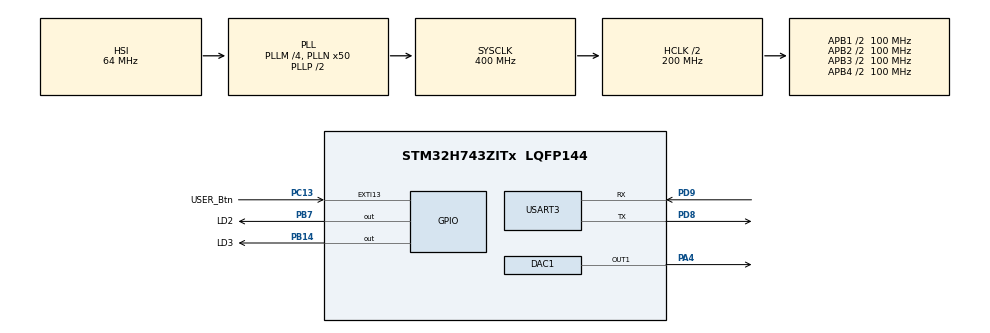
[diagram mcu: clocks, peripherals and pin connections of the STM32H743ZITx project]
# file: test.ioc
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ADC2.Channel-9\#ChannelRegularConversion=ADC_CHANNEL_DAC1CH1_ADC2
ADC2.ClockPrescaler=ADC_CLOCK_ASYNC_DIV2
ADC2.ContinuousConvMode=DISABLE
ADC2.ConversionDataManagement=ADC_CONVERSIONDATA_DMA_ONESHOT
ADC2.DiscontinuousConvMode=DISABLE
ADC2.EOCSelection=ADC_EOC_SINGLE_CONV
ADC2.EnableRegularConversion=ENABLE
ADC2.ExternalTrigConv=ADC_EXTERNALTRIG_T3_TRGO
ADC2.NbrOfConversionFlag=1
ADC2.OffsetNumber-9\#ChannelRegularConversion=ADC_OFFSET_NONE
ADC2.Overrun=ADC_OVR_DATA_OVERWRITTEN
ADC2.Rank-9\#ChannelRegularConversion=1
ADC2.Resolution=ADC_RESOLUTION_12B
ADC2.SamplingTime-9\#ChannelRegularConversion=ADC_SAMPLETIME_64CYCLES_5
CORTEX_M7.CPU_DCache=Disabled
CORTEX_M7.CPU_ICache=Disabled
DAC1.DAC_Trigger-DAC_OUT1_ExtAndInt=DAC_TRIGGER_T6_TRGO
Dma.ADC2.1.Direction=DMA_PERIPH_TO_MEMORY
Dma.ADC2.1.EventEnable=DISABLE
Dma.ADC2.1.FIFOMode=DMA_FIFOMODE_DISABLE
Dma.ADC2.1.Instance=DMA1_Stream2
Dma.ADC2.1.MemDataAlignment=DMA_MDATAALIGN_HALFWORD
Dma.ADC2.1.MemInc=DMA_MINC_ENABLE
Dma.ADC2.1.Mode=DMA_NORMAL
Dma.ADC2.1.PeriphDataAlignment=DMA_PDATAALIGN_HALFWORD
Dma.ADC2.1.PeriphInc=DMA_PINC_DISABLE
Dma.ADC2.1.Polarity=HAL_DMAMUX_REQ_GEN_RISING
Dma.ADC2.1.Priority=DMA_PRIORITY_LOW
Dma.ADC2.1.RequestNumber=1
Dma.ADC2.1.SignalID=NONE
Dma.ADC2.1.SyncEnable=DISABLE
Dma.ADC2.1.SyncPolarity=HAL_DMAMUX_SYNC_NO_EVENT
Dma.ADC2.1.SyncRequestNumber=1
Dma.ADC2.1.SyncSignalID=NONE
Dma.DAC1_CH1.0.Direction=DMA_MEMORY_TO_PERIPH
Dma.DAC1_CH1.0.EventEnable=DISABLE
Dma.DAC1_CH1.0.FIFOMode=DMA_FIFOMODE_DISABLE
Dma.DAC1_CH1.0.Instance=DMA1_Stream1
Dma.DAC1_CH1.0.MemDataAlignment=DMA_MDATAALIGN_HALFWORD
Dma.DAC1_CH1.0.MemInc=DMA_MINC_ENABLE
Dma.DAC1_CH1.0.Mode=DMA_NORMAL
Dma.DAC1_CH1.0.PeriphDataAlignment=DMA_PDATAALIGN_HALFWORD
Dma.DAC1_CH1.0.PeriphInc=DMA_PINC_DISABLE
Dma.DAC1_CH1.0.Polarity=HAL_DMAMUX_REQ_GEN_RISING
Dma.DAC1_CH1.0.Priority=DMA_PRIORITY_MEDIUM
Dma.DAC1_CH1.0.RequestNumber=1
Dma.DAC1_CH1.0.SignalID=NONE
Dma.DAC1_CH1.0.SyncEnable=DISABLE
Dma.DAC1_CH1.0.SyncPolarity=HAL_DMAMUX_SYNC_NO_EVENT
Dma.DAC1_CH1.0.SyncRequestNumber=1
Dma.DAC1_CH1.0.SyncSignalID=NONE
Dma.Request0=DAC1_CH1
Dma.Request1=ADC2
Mcu.Family=STM32H7
Mcu.Name=STM32H743ZITx
Mcu.Package=LQFP144
NVIC.ADC_IRQn=true\:0\:0\:false\:false\:true\:true\:true
NVIC.DMA1_Stream1_IRQn=true\:2\:0\:true\:false\:true\:false\:true
NVIC.DMA1_Stream2_IRQn=true\:0\:0\:true\:false\:true\:false\:true
NVIC.EXTI15_10_IRQn=true\:2\:0\:true\:false\:true\:true\:true
NVIC.PriorityGroup=NVIC_PRIORITYGROUP_4
PA4.Signal=COMP_DAC11_group
PB14.GPIO_Label=LD3
PB14.GPIO_ModeDefaultOutputPP=GPIO_MODE_OUTPUT_PP
PB14.GPIO_PuPd=GPIO_NOPULL
PB14.GPIO_Speed=GPIO_SPEED_FREQ_LOW
PB14.PinState=GPIO_PIN_RESET
PB14.Signal=GPIO_Output
PB7.GPIO_FM7=__NULL
PB7.GPIO_Label=LD2
PB7.GPIO_ModeDefaultOutputPP=GPIO_MODE_OUTPUT_PP
PB7.GPIO_PuPd=GPIO_NOPULL
PB7.GPIO_Speed=GPIO_SPEED_FREQ_LOW
PB7.PinState=GPIO_PIN_RESET
PB7.Signal=GPIO_Output
PC13.GPIO_Label=USER_Btn
PC13.GPIO_ModeDefaultEXTI=GPIO_MODE_IT_RISING
PC13.GPIO_PuPd=GPIO_NOPULL
PC13.Signal=GPXTI13
PD8.Mode=Asynchronous
PD8.Signal=USART3_TX
PD9.Mode=Asynchronous
PD9.Signal=USART3_RX
PH0-OSC_IN\ (PH0).Mode=HSE-External-Clock-Source
PH0-OSC_IN\ (PH0).Signal=RCC_OSC_IN
PH1-OSC_OUT\ (PH1).Mode=HSE-External-Clock-Source
PH1-OSC_OUT\ (PH1).Signal=RCC_OSC_OUT
ProjectManager.HeapSize=0x200
ProjectManager.StackSize=0x400
ProjectManager.TargetToolchain=MDK-ARM V5
RCC.48MHZClocksFreq_Value=24000000
RCC.ADCCLockSelection=RCC_ADCCLKSOURCE_CLKP
RCC.ADCFreq_Value=64000000
RCC.AHBFreq_Value=216000000
RCC.APB1CLKDivider=RCC_HCLK_DIV4
RCC.APB1Freq_Value=100000000
RCC.APB1TimFreq_Value=108000000
RCC.APB2CLKDivider=RCC_HCLK_DIV2
RCC.APB2Freq_Value=100000000
RCC.APB2TimFreq_Value=216000000
RCC.APB3Freq_Value=100000000
RCC.APB4Freq_Value=100000000
RCC.CortexFreq_Value=400000000
RCC.D1PPRE=RCC_APB3_DIV2
RCC.D2PPRE1=RCC_APB1_DIV2
RCC.D2PPRE2=RCC_APB2_DIV2
RCC.D3PPRE=RCC_APB4_DIV2
RCC.DIVM1=4
RCC.DIVM2=4
RCC.DIVM3=1
RCC.DIVN1=50
RCC.DIVN2=12
RCC.DIVN3=19
RCC.DIVP2=16
RCC.DIVQ1=4
RCC.HCLKFreq_Value=200000000
RCC.HPRE=RCC_HCLK_DIV2
RCC.HSE_VALUE=8000000
RCC.HSI_VALUE=64000000
RCC.PLLM=25
RCC.PLLMUL=RCC_PLL_MUL9
RCC.PLLN=432
RCC.PLLQ=9
RCC.PRESCALERUSB=RCC_USBCLKSOURCE_PLL_DIV1_5
RCC.PWR_Regulator_Voltage_Scale=PWR_REGULATOR_VOLTAGE_SCALE1
RCC.SYSCLKFreq_VALUE=400000000
RCC.SYSCLKSource=RCC_SYSCLKSOURCE_PLLCLK
RCC.SYSCLKSourceVirtual=RCC_SYSCLKSOURCE_PLLCLK
RCC.USBFreq_Value=200000000
RCC.VCOOutputFreq_Value=432000000
SH.COMP_DAC11_group.0=DAC1_OUT1,DAC_OUT1_ExtAndInt
TIM3.Period=100
TIM3.Prescaler=500
TIM3.TIM_MasterOutputTrigger=TIM_TRGO_UPDATE
TIM6.Period=9
TIM6.Prescaler=400
TIM6.TIM_MasterOutputTrigger=TIM_TRGO_UPDATE
USART3.VirtualMode-Asynchronous=VM_ASYNC
VP_ADC2_VS_DAC1_OUT1_L4.Mode=IN-DAC1-OUT1
VP_TIM3_VS_ClockSourceINT.Mode=Internal
VP_TIM6_VS_ClockSourceINT.Mode=Enable_Timer
board=NUCLEO-H743ZI

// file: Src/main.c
/* USER CODE BEGIN Header */
/**
  ******************************************************************************
  * @file           : main.c
  * @brief          : Main program body
  ******************************************************************************
  ** This notice applies to any and all portions of this file
  * that are not between comment pairs USER CODE BEGIN and
  * USER CODE END. Other portions of this file, whether
  * inserted by the user or by software development tools
  * are owned by their respective copyright owners.
  *
  * COPYRIGHT(c) 2019 STMicroelectronics
  *
  * Redistribution and use in source and binary forms, with or without modification,
  * are permitted provided that the following conditions are met:
  *   1. Redistributions of source code must retain the above copyright notice,
  *      this list of conditions and the following disclaimer.
  *   2. Redistributions in binary form must reproduce the above copyright notice,
  *      this list of conditions and the following disclaimer in the documentation
  *      and/or other materials provided with the distribution.
  *   3. Neither the name of STMicroelectronics nor the names of its contributors
  *      may be used to endorse or promote products derived from this software
  *      without specific prior written permission.
  *
  * THIS SOFTWARE IS PROVIDED BY THE COPYRIGHT HOLDERS AND CONTRIBUTORS "AS IS"
  * AND ANY EXPRESS OR IMPLIED WARRANTIES, INCLUDING, BUT NOT LIMITED TO, THE
  * IMPLIED WARRANTIES OF MERCHANTABILITY AND FITNESS FOR A PARTICULAR PURPOSE ARE
  * DISCLAIMED. IN NO EVENT SHALL THE COPYRIGHT HOLDER OR CONTRIBUTORS BE LIABLE
  * FOR ANY DIRECT, INDIRECT, INCIDENTAL, SPECIAL, EXEMPLARY, OR CONSEQUENTIAL
  * DAMAGES (INCLUDING, BUT NOT LIMITED TO, PROCUREMENT OF SUBSTITUTE GOODS OR
  * SERVICES; LOSS OF USE, DATA, OR PROFITS; OR BUSINESS INTERRUPTION) HOWEVER
  * CAUSED AND ON ANY THEORY OF LIABILITY, WHETHER IN CONTRACT, STRICT LIABILITY,
  * OR TORT (INCLUDING NEGLIGENCE OR OTHERWISE) ARISING IN ANY WAY OUT OF THE USE
  * OF THIS SOFTWARE, EVEN IF ADVISED OF THE POSSIBILITY OF SUCH DAMAGE.
  *
  ******************************************************************************
  */
/* USER CODE END Header */

#include "main.h"
#include "adc.h"
#include "dac.h"
#include "dma.h"
#include "tim.h"
#include "usart.h"
#include "gpio.h"

/* USER CODE BEGIN Includes */
#include "stdio.h"
#include "stdlib.h"
#include "dac_gen.h"
#include "fft.h"

/* USER CODE END Includes */

/* USER CODE BEGIN PV */
int16_t adc_plot[64] = {0};
uint16_t string_counter = 0;
float fftouttable[64] = {0};

extern float magoutput[32];

extern int16_t Plot_Bank0[250];
extern int16_t Plot_Bank1[250];
extern DACStatus_Typedef DAC_Status;
/* USER CODE END PV */

void SystemClock_Config(void);

/* USER CODE BEGIN 0 */
void HAL_GPIO_EXTI_Callback(uint16_t GPIO_Pin)
{
  if(GPIO_Pin == USER_Btn_Pin)
    {
      HAL_GPIO_TogglePin(LD2_GPIO_Port,LD2_Pin);
      HAL_Delay(500);
    }
}

#ifdef __GNUC__
#define PUTCHAR_PROTOTYPE int __io_putchar(int ch)
#else
#define PUTCHAR_PROTOTYPE int fputc(int ch, FILE *f)
#endif

/* printf重定向到串口3 */
int fputc(int ch,FILE *f)
{
  uint8_t temp[1]= {ch};
  HAL_UART_Transmit(&huart3,temp,1,10);        //UartHandle是串口的句柄
  return ch;
}

PUTCHAR_PROTOTYPE
{
  HAL_UART_Transmit(&huart3,(uint8_t*)&ch,1,10);
  return ch;
}
/* ********************************************* */

///*
//	SWO接口版本的printf函数 可以在keil调试过程中�?�过Debug串口输出数据
//	但是要求�?5线SWD接口 也就是有SWO的SWD接口 我们常用�?4线接口不�?
//*/
//#define ITM_Port8(n)    (*((volatile unsigned char *)(0xE0000000+4*n)))
//#define ITM_Port16(n)   (*((volatile unsigned short*)(0xE0000000+4*n)))
//#define ITM_Port32(n)   (*((volatile unsigned long *)(0xE0000000+4*n)))

//#define DEMCR           (*((volatile unsigned long *)(0xE000EDFC)))
//#define TRCENA          0x01000000

//int fputc(int ch, FILE *f) {
//  if (DEMCR & TRCENA) {
//    while (ITM_Port32(0) == 0);
//    ITM_Port8(0) = ch;
//  }
//  return(ch);
//}

//PUTCHAR_PROTOTYPE
//{
//  if (DEMCR & TRCENA) {
//    while (ITM_Port32(0) == 0);
//    ITM_Port8(0) = ch;
//  }
//  return(ch);
//}
///* ****************************************************** */

/*
	特别注意，如果使用DMA来给ADC传输数据，则callback应该�?
	errorcallback而不是常规的convcpltcallback
	ADC+DMA应该使用errorcallback
*/
void HAL_ADC_ErrorCallback(ADC_HandleTypeDef * hadc)
{
  if(hadc->Instance == ADC2)
    {
      //调用该函数有清overrun标志位作�? 详见HAL文档
      HAL_ADC_Stop_DMA(hadc);
    }
}

/* USER CODE END 0 */

int main(void)
{

  /* MCU Configuration--------------------------------------------------------*/

  /* Reset of all peripherals, Initializes the Flash interface and the Systick. */
  HAL_Init();

  /* Configure the system clock */
  SystemClock_Config();

  /* Initialize all configured peripherals */
  MX_GPIO_Init();
  MX_DMA_Init();
  MX_TIM6_Init();
  MX_DAC1_Init();
  MX_ADC2_Init();
  MX_TIM3_Init();
  MX_USART3_UART_Init();
  /* USER CODE BEGIN 2 */

  HAL_TIM_Base_Start(&htim6);
  HAL_TIM_Base_Start(&htim3);

  //HAL_ADCEx_Calibration_Start(&hadc2,ADC_CALIB_OFFSET_LINEARITY,ADC_SINGLE_ENDED);

  //dac_plot_countinue(Plot_Bank0,250,0.00002,&DAC_Status);

  //dac_gomid(&hdac1);
  HAL_Delay(1000);

  DAC_Status.DAC_Plotting_Bank = DAC_Plotting_Bank_Bank1;
  DAC_Status.DAC_Status = DAC_Status_Busy;

  /* USER CODE END 2 */

  /* Infinite loop */
  /* USER CODE BEGIN WHILE */
  while (1)
    {
      HAL_Delay(500);
			uint16_t Counter = 1;

			//256Hz
			printf("256Hz\r\n");
      while(Counter < 196)
        {
          printf("%-4d, ",(int16_t)(500.0*sin(2*PI*256*Counter*0.00002)));
          Counter ++;
					if(Counter % 10 == 0)
					{
						printf("\r\n");
					}
        }
			Counter = 1;
			printf("\r\n\r\n\r\n");

			//448Hz
			printf("448Hz\r\n");
      while(Counter < 112)
        {
          printf("%-4d, ",(int16_t)(500.0*sin(2*PI*448*Counter*0.00002)));
          Counter ++;
					if(Counter % 10 == 0)
					{
						printf("\r\n");
					}
        }
			Counter = 1;
			printf("\r\n\r\n\r\n");

			//640Hz
			printf("640Hz\r\n");
      while(Counter < 79)
        {
          printf("%-4d, ",(int16_t)(500.0*sin(2*PI*640*Counter*0.00002)));
          Counter ++;
					if(Counter % 10 == 0)
					{
						printf("\r\n");
					}
        }
			Counter = 1;
			printf("\r\n\r\n\r\n");

			//832Hz
			printf("832Hz\r\n");
      while(Counter < 61)
        {
          printf("%-4d, ",(int16_t)(500.0*sin(2*PI*832*Counter*0.00002)));
          Counter ++;
					if(Counter % 10 == 0)
					{
						printf("\r\n");
					}
        }
			Counter = 1;
			printf("\r\n\r\n\r\n");

			//1216Hz
			printf("1216Hz\r\n");
      while(Counter < 42)
        {
          printf("%-4d, ",(int16_t)(500.0*sin(2*PI*1216*Counter*0.00002)));
          Counter ++;
					if(Counter % 10 == 0)
					{
						printf("\r\n");
					}
        }
			Counter = 1;
			printf("\r\n\r\n\r\n");

			//1408Hz
			printf("1408Hz\r\n");
      while(Counter < 36)
        {
          printf("%-4d, ",(int16_t)(500.0*sin(2*PI*1408*Counter*0.00002)));
          Counter ++;
					if(Counter % 10 == 0)
					{
						printf("\r\n");
					}
        }
			Counter = 1;
			printf("\r\n\r\n\r\n");

			//1600Hz
			printf("1600Hz\r\n");
      while(Counter < 32)
        {
          printf("%-4d, ",(int16_t)(500.0*sin(2*PI*1600*Counter*0.00002)));
          Counter ++;
					if(Counter % 10 == 0)
					{
						printf("\r\n");
					}
        }
			Counter = 1;
			printf("\r\n\r\n\r\n");

			//1792Hz
			printf("1792Hz\r\n");
      while(Counter < 29)
        {
          printf("%-4d, ",(int16_t)(500.0*sin(2*PI*1792*Counter*0.00002)));
          Counter ++;
					if(Counter % 10 == 0)
					{
						printf("\r\n");
					}
        }
			Counter = 1;
			printf("\r\n\r\n\r\n");

      while(1);

      /* USER CODE END WHILE */

    }
}

void SystemClock_Config(void)
{
  RCC_OscInitTypeDef RCC_OscInitStruct = {0};
  RCC_ClkInitTypeDef RCC_ClkInitStruct = {0};
  RCC_PeriphCLKInitTypeDef PeriphClkInitStruct = {0};

  /** Supply configuration update enable
  */
  HAL_PWREx_ConfigSupply(PWR_LDO_SUPPLY);
  /** Configure the main internal regulator output voltage
  */
  __HAL_PWR_VOLTAGESCALING_CONFIG(PWR_REGULATOR_VOLTAGE_SCALE1);

  while(!__HAL_PWR_GET_FLAG(PWR_FLAG_VOSRDY)) {}
  /** Initializes the CPU, AHB and APB busses clocks
  */
  RCC_OscInitStruct.OscillatorType = RCC_OSCILLATORTYPE_HSI;
  RCC_OscInitStruct.HSIState = RCC_HSI_DIV1;
  RCC_OscInitStruct.HSICalibrationValue = RCC_HSICALIBRATION_DEFAULT;
  RCC_OscInitStruct.PLL.PLLState = RCC_PLL_ON;
  RCC_OscInitStruct.PLL.PLLSource = RCC_PLLSOURCE_HSI;
  RCC_OscInitStruct.PLL.PLLM = 4;
  RCC_OscInitStruct.PLL.PLLN = 50;
  RCC_OscInitStruct.PLL.PLLP = 2;
  RCC_OscInitStruct.PLL.PLLQ = 4;
  RCC_OscInitStruct.PLL.PLLR = 2;
  RCC_OscInitStruct.PLL.PLLRGE = RCC_PLL1VCIRANGE_3;
  RCC_OscInitStruct.PLL.PLLVCOSEL = RCC_PLL1VCOWIDE;
  RCC_OscInitStruct.PLL.PLLFRACN = 0;
  if (HAL_RCC_OscConfig(&RCC_OscInitStruct) != HAL_OK)
    {
      Error_Handler();
    }
  /** Initializes the CPU, AHB and APB busses clocks
  */
  RCC_ClkInitStruct.ClockType = RCC_CLOCKTYPE_HCLK|RCC_CLOCKTYPE_SYSCLK
                                |RCC_CLOCKTYPE_PCLK1|RCC_CLOCKTYPE_PCLK2
                                |RCC_CLOCKTYPE_D3PCLK1|RCC_CLOCKTYPE_D1PCLK1;
  RCC_ClkInitStruct.SYSCLKSource = RCC_SYSCLKSOURCE_PLLCLK;
  RCC_ClkInitStruct.SYSCLKDivider = RCC_SYSCLK_DIV1;
  RCC_ClkInitStruct.AHBCLKDivider = RCC_HCLK_DIV2;
  RCC_ClkInitStruct.APB3CLKDivider = RCC_APB3_DIV2;
  RCC_ClkInitStruct.APB1CLKDivider = RCC_APB1_DIV2;
  RCC_ClkInitStruct.APB2CLKDivider = RCC_APB2_DIV2;
  RCC_ClkInitStruct.APB4CLKDivider = RCC_APB4_DIV2;

  if (HAL_RCC_ClockConfig(&RCC_ClkInitStruct, FLASH_LATENCY_2) != HAL_OK)
    {
      Error_Handler();
    }
  PeriphClkInitStruct.PeriphClockSelection = RCC_PERIPHCLK_USART3|RCC_PERIPHCLK_ADC
      |RCC_PERIPHCLK_CKPER;
  PeriphClkInitStruct.CkperClockSelection = RCC_CLKPSOURCE_HSI;
  PeriphClkInitStruct.Usart234578ClockSelection = RCC_USART234578CLKSOURCE_D2PCLK1;
  PeriphClkInitStruct.AdcClockSelection = RCC_ADCCLKSOURCE_CLKP;
  if (HAL_RCCEx_PeriphCLKConfig(&PeriphClkInitStruct) != HAL_OK)
    {
      Error_Handler();
    }
}

void Error_Handler(void)
{
}

/************************ (C) COPYRIGHT STMicroelectronics *****END OF FILE****/
